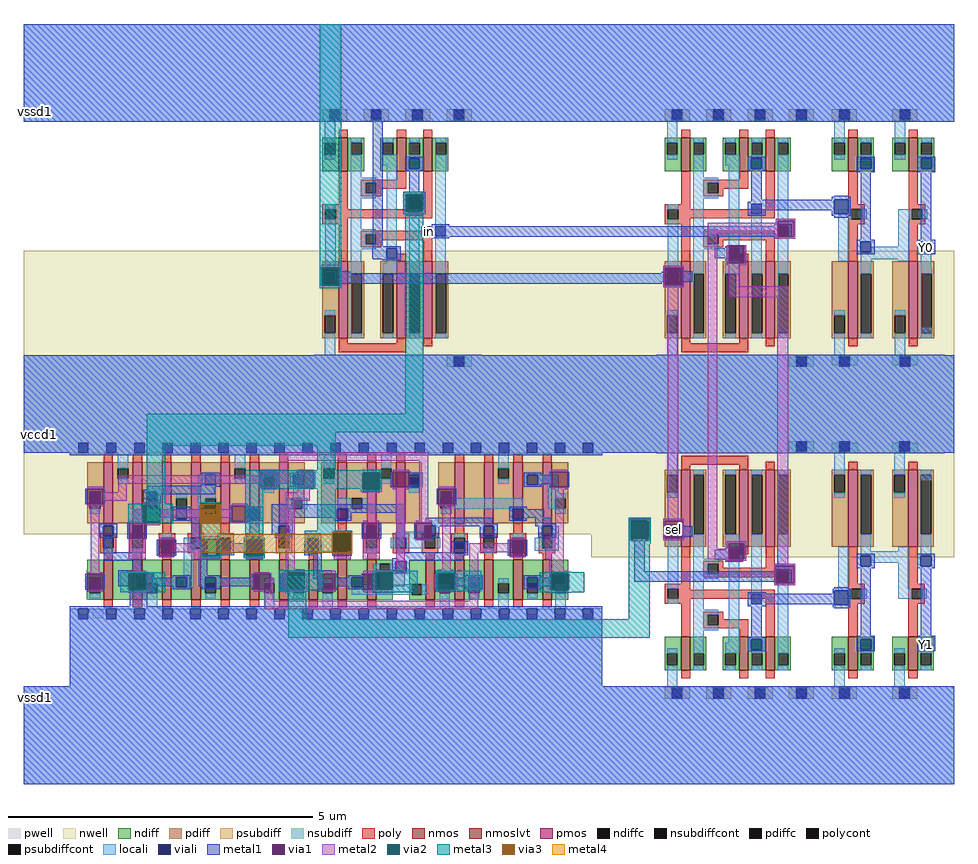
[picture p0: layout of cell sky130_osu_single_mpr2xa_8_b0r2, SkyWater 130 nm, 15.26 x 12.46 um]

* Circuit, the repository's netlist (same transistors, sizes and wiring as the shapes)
* NGSPICE file created from sky130_osu_single_mpr2xa_8_b0r2.ext - technology: sky130A

.subckt scs130hd_mpr2xa_8 VPB VNB R0 R1 R2 R3 B1 B0 A0 vgnd vpwr A1
X0 R0 a_56_48# vpwr VPB sky130_fd_pr__pfet_01v8 ad=0.27 pd=2.54 as=0.165 ps=1.33 w=1 l=0.15
X1 a_1294_296# a_676_198# R3 VPB sky130_fd_pr__pfet_01v8 ad=0.165 pd=1.33 as=0.27 ps=2.54 w=1 l=0.15
X2 vpwr a_56_48# a_1294_296# VPB sky130_fd_pr__pfet_01v8 ad=0.165 pd=1.33 as=0.165 ps=1.33 w=1 l=0.15
X3 a_1486_296# a_334_296# vpwr VPB sky130_fd_pr__pfet_01v8 ad=0.165 pd=1.33 as=0.165 ps=1.33 w=1 l=0.15
X4 R1 R3 a_1486_296# VPB sky130_fd_pr__pfet_01v8 ad=0.27 pd=2.54 as=0.165 ps=1.33 w=1 l=0.15
X5 R2 a_676_198# vgnd VNB sky130_fd_pr__nfet_01v8 ad=0.10725 pd=0.98 as=0.10725 ps=0.98 w=0.65 l=0.15
X6 vgnd a_56_48# R3 VNB sky130_fd_pr__nfet_01v8 ad=0.10725 pd=0.98 as=0.10725 ps=0.98 w=0.65 l=0.15
X7 vpwr B0 a_56_48# VPB sky130_fd_pr__pfet_01v8 ad=0.165 pd=1.33 as=0.27 ps=2.54 w=1 l=0.15
X8 a_334_296# A1 a_238_296# VPB sky130_fd_pr__pfet_01v8 ad=0.165 pd=1.33 as=0.165 ps=1.33 w=1 l=0.15
X9 a_238_296# B0 a_334_296# VPB sky130_fd_pr__pfet_01v8 ad=0.165 pd=1.33 as=0.165 ps=1.33 w=1 l=0.15
X10 a_676_198# B1 a_910_46# VNB sky130_fd_pr__nfet_01v8 ad=0.1755 pd=1.84 as=0.10725 ps=0.98 w=0.65 l=0.15
X11 R3 a_676_198# vgnd VNB sky130_fd_pr__nfet_01v8 ad=0.10725 pd=0.98 as=0.10725 ps=0.98 w=0.65 l=0.15
X12 a_238_296# A0 vpwr VPB sky130_fd_pr__pfet_01v8 ad=0.165 pd=1.33 as=0.165 ps=1.33 w=1 l=0.15
X13 a_142_46# B0 a_56_48# VNB sky130_fd_pr__nfet_01v8 ad=0.10725 pd=0.98 as=0.1802 ps=1.86 w=0.65 l=0.15
X14 vgnd a_56_48# R0 VNB sky130_fd_pr__nfet_01v8 ad=0.10725 pd=0.98 as=0.1755 ps=1.84 w=0.65 l=0.15
X15 vgnd R3 R1 VNB sky130_fd_pr__nfet_01v8 ad=0.1755 pd=1.84 as=0.10725 ps=0.98 w=0.65 l=0.15
X16 a_334_296# B0 a_334_46# VNB sky130_fd_pr__nfet_01v8 ad=0.10725 pd=0.98 as=0.10725 ps=0.98 w=0.65 l=0.15
X17 R1 a_334_296# vgnd VNB sky130_fd_pr__nfet_01v8 ad=0.10725 pd=0.98 as=0.10725 ps=0.98 w=0.65 l=0.15
X18 a_334_46# A1 vgnd VNB sky130_fd_pr__nfet_01v8 ad=0.10725 pd=0.98 as=0.10725 ps=0.98 w=0.65 l=0.15
X19 vgnd A0 a_142_46# VNB sky130_fd_pr__nfet_01v8 ad=0.10725 pd=0.98 as=0.10725 ps=0.98 w=0.65 l=0.15
X20 vgnd A0 a_526_46# VNB sky130_fd_pr__nfet_01v8 ad=0.10725 pd=0.98 as=0.10725 ps=0.98 w=0.65 l=0.15
X21 a_526_46# B1 a_334_296# VNB sky130_fd_pr__nfet_01v8 ad=0.10725 pd=0.98 as=0.10725 ps=0.98 w=0.65 l=0.15
X22 a_910_46# A1 vgnd VNB sky130_fd_pr__nfet_01v8 ad=0.10725 pd=0.98 as=0.10725 ps=0.98 w=0.65 l=0.15
X23 a_56_48# A0 vpwr VPB sky130_fd_pr__pfet_01v8 ad=0.165 pd=1.33 as=0.165 ps=1.33 w=1 l=0.15
X24 a_676_198# A1 vpwr VPB sky130_fd_pr__pfet_01v8 ad=0.165 pd=1.33 as=0.27 ps=2.54 w=1 l=0.15
X25 vgnd R0 R2 VNB sky130_fd_pr__nfet_01v8 ad=0.10725 pd=0.98 as=0.10725 ps=0.98 w=0.65 l=0.15
X26 vpwr B1 a_238_296# VPB sky130_fd_pr__pfet_01v8 ad=0.165 pd=1.33 as=0.165 ps=1.33 w=1 l=0.15
X27 R2 a_676_198# a_56_48# VPB sky130_fd_pr__pfet_01v8 ad=0.27 pd=2.54 as=0.165 ps=1.33 w=1 l=0.15
X28 vpwr B1 a_676_198# VPB sky130_fd_pr__pfet_01v8 ad=0.165 pd=1.33 as=0.165 ps=1.33 w=1 l=0.15
.ends

.subckt sky130_osu_sc_12T_hs__mux2_1 S0 Y A0 A1 vccd1 vssd1 
X0 Y S0 A0 vccd1 sky130_fd_pr__pfet_01v8 ad=0.1764 pd=1.54 as=0.3402 ps=3.06 w=1.26 l=0.15
X1 Y a_110_114# A0 vssd1  sky130_fd_pr__nfet_01v8_lvt ad=0.077 pd=0.83 as=0.1485 ps=1.64 w=0.55 l=0.15
X2 A1 a_110_114# Y vccd1 sky130_fd_pr__pfet_01v8 ad=0.3339 pd=3.05 as=0.1764 ps=1.54 w=1.26 l=0.15
X3 A1 S0 Y vssd1  sky130_fd_pr__nfet_01v8_lvt ad=0.14575 pd=1.63 as=0.077 ps=0.83 w=0.55 l=0.15
X4 a_110_114# S0 vccd1 vccd1 sky130_fd_pr__pfet_01v8 ad=0.3339 pd=3.05 as=0.3402 ps=3.06 w=1.26 l=0.15
X5 a_110_114# S0 vssd1  vssd1  sky130_fd_pr__nfet_01v8_lvt ad=0.14575 pd=1.63 as=0.1485 ps=1.64 w=0.55 l=0.15
.ends

.subckt sky130_osu_sc_12T_hs__inv_1 Y A vccd1 vssd1
X0 Y A vccd1 vccd1 sky130_fd_pr__pfet_01v8 ad=0.3339 pd=3.05 as=0.3402 ps=3.06 w=1.26 l=0.15
X1 Y A vssd1 vssd1 sky130_fd_pr__nfet_01v8_lvt ad=0.14575 pd=1.63 as=0.1485 ps=1.64 w=0.55 l=0.15
.ends

.subckt sky130_osu_single_mpr2xa_8_b0r2 vssd1 vccd1 sel Y0 Y1 in
Xscs130hd_mpr2xa_8_0 vccd1 vssd1 scs130hd_mpr2xa_8_0/R0 scs130hd_mpr2xa_8_0/R1 scs130hd_mpr2xa_8_0/R2
+ scs130hd_mpr2xa_8_0/R3 scs130hd_mpr2xa_8_0/B1 vssd1 scs130hd_mpr2xa_8_0/B1 vssd1
+ vccd1 scs130hd_mpr2xa_8_0/B1 scs130hd_mpr2xa_8
Xsky130_osu_sc_12T_hs__mux2_1_0 sel sky130_osu_sc_12T_hs__inv_1_1/A in scs130hd_mpr2xa_8_0/R2
+ vccd1 vssd1 sky130_osu_sc_12T_hs__mux2_1
Xsky130_osu_sc_12T_hs__mux2_1_1 sel scs130hd_mpr2xa_8_0/B1 vssd1 in vccd1 vssd1 sky130_osu_sc_12T_hs__mux2_1
Xsky130_osu_sc_12T_hs__inv_1_1 sky130_osu_sc_12T_hs__inv_1_2/A sky130_osu_sc_12T_hs__inv_1_1/A
+ vccd1 vssd1 sky130_osu_sc_12T_hs__inv_1
Xsky130_osu_sc_12T_hs__inv_1_2 Y1 sky130_osu_sc_12T_hs__inv_1_2/A vccd1 vssd1 sky130_osu_sc_12T_hs__inv_1
Xsky130_osu_sc_12T_hs__mux2_1_2 sel sky130_osu_sc_12T_hs__inv_1_4/A scs130hd_mpr2xa_8_0/R2
+ in vccd1 vssd1 sky130_osu_sc_12T_hs__mux2_1
Xsky130_osu_sc_12T_hs__inv_1_3 Y0 sky130_osu_sc_12T_hs__inv_1_4/Y vccd1 vssd1 sky130_osu_sc_12T_hs__inv_1
Xsky130_osu_sc_12T_hs__inv_1_4 sky130_osu_sc_12T_hs__inv_1_4/Y sky130_osu_sc_12T_hs__inv_1_4/A
+ vccd1 vssd1 sky130_osu_sc_12T_hs__inv_1
.ends

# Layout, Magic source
magic
tech sky130A
magscale 1 2
<< nwell >>
rect 2938 1749 2981 1750
rect 0 1725 3052 1749
rect 0 1691 2779 1725
rect 2780 1691 3052 1725
rect 0 1087 3052 1691
rect 0 820 109 1087
rect 1860 1086 2086 1087
rect 0 819 106 820
rect 1862 744 2076 1086
rect 2097 800 2165 870
rect 2858 772 2888 807
rect 3007 744 3052 1087
<< ndiff >>
rect 2942 441 2977 475
<< locali >>
rect 0 2173 3052 2493
rect 2778 1722 2877 1762
rect 2779 1691 2780 1722
rect 2944 1462 2978 1496
rect 0 1087 3052 1407
rect 1860 1086 2086 1087
rect 3016 1086 3052 1087
rect 2943 997 2977 1031
rect 2776 725 2884 764
rect 420 559 459 578
rect 787 559 826 572
rect 1155 559 1194 578
rect 1525 559 1565 576
rect 1859 559 1898 576
rect 175 544 1898 559
rect 150 320 1898 544
rect 0 0 3052 320
<< viali >>
rect 2659 1871 2705 1917
rect 2943 1744 2977 1778
rect 2659 588 2705 634
rect 2943 441 2977 475
<< metal1 >>
rect 0 2173 3052 2493
rect 1144 1721 1178 2173
rect 1244 1934 1318 1943
rect 1244 1878 1253 1934
rect 1309 1878 1318 1934
rect 2659 1926 2705 1929
rect 2650 1917 2712 1926
rect 2650 1916 2659 1917
rect 2421 1909 2659 1916
rect 2433 1903 2659 1909
rect 1244 1869 1318 1878
rect 2387 1882 2659 1903
rect 2387 1869 2433 1882
rect 2650 1871 2659 1882
rect 2705 1871 2712 1917
rect 2650 1864 2712 1871
rect 2659 1858 2705 1864
rect 2466 1847 2531 1854
rect 2466 1829 2473 1847
rect 1316 1795 2473 1829
rect 2525 1795 2531 1847
rect 2466 1789 2531 1795
rect 2306 1709 2312 1767
rect 2364 1709 2370 1767
rect 2097 1694 2165 1700
rect 971 1636 977 1694
rect 1035 1676 1041 1694
rect 2097 1681 2103 1694
rect 2093 1676 2103 1681
rect 1035 1647 2103 1676
rect 1035 1641 2093 1647
rect 1035 1636 1041 1641
rect 2097 1636 2103 1647
rect 2161 1636 2165 1694
rect 2097 1630 2165 1636
rect 0 1087 3052 1407
rect 1860 1086 2086 1087
rect 3016 1086 3052 1087
rect 1985 863 2053 869
rect 1985 805 1991 863
rect 2049 805 2053 863
rect 1985 799 2053 805
rect 2097 864 2165 870
rect 2097 806 2103 864
rect 2161 806 2165 864
rect 2097 800 2165 806
rect 2003 698 2037 799
rect 2306 790 2370 796
rect 2306 772 2312 790
rect 2299 738 2312 772
rect 2364 738 2370 790
rect 2306 732 2370 738
rect 2461 716 2531 722
rect 2461 698 2467 716
rect 347 582 405 670
rect 2003 664 2467 698
rect 2461 658 2467 664
rect 2525 658 2531 716
rect 2461 652 2531 658
rect 2659 641 2705 646
rect 2653 634 2711 641
rect 2653 624 2659 634
rect 2387 623 2421 624
rect 2433 623 2659 624
rect 2387 590 2659 623
rect 2653 588 2659 590
rect 2705 588 2711 634
rect 420 559 459 578
rect 787 559 826 572
rect 1155 559 1194 578
rect 1859 576 1884 583
rect 2653 580 2711 588
rect 2659 576 2705 580
rect 1525 568 1565 576
rect 1859 559 1898 576
rect 175 544 1898 559
rect 150 320 1898 544
rect 0 0 3052 320
<< via1 >>
rect 1253 1878 1309 1934
rect 2473 1795 2525 1847
rect 2312 1709 2364 1767
rect 977 1636 1035 1694
rect 2103 1636 2161 1694
rect 1991 805 2049 863
rect 2103 806 2161 864
rect 2312 738 2364 790
rect 2467 658 2525 716
<< metal2 >>
rect 1244 1934 1318 1943
rect 1244 1878 1253 1934
rect 1309 1878 1318 1934
rect 1244 1869 1318 1878
rect 2466 1847 2531 1854
rect 2466 1841 2473 1847
rect 2243 1807 2473 1841
rect 977 1694 1035 1703
rect 977 1627 1035 1636
rect 2097 1694 2165 1700
rect 2097 1636 2103 1694
rect 2161 1636 2165 1694
rect 2097 1630 2165 1636
rect 1991 869 2049 872
rect 2113 870 2147 1630
rect 1985 863 2053 869
rect 1985 805 1991 863
rect 2049 805 2053 863
rect 1985 799 2053 805
rect 2097 864 2165 870
rect 2097 806 2103 864
rect 2161 806 2165 864
rect 2097 800 2165 806
rect 1991 796 2049 799
rect 2243 772 2275 1807
rect 2466 1795 2473 1807
rect 2525 1795 2531 1847
rect 2466 1789 2531 1795
rect 2306 1709 2312 1767
rect 2364 1709 2370 1767
rect 2306 1702 2370 1709
rect 2312 1667 2346 1702
rect 2312 1632 2347 1667
rect 2312 1597 2507 1632
rect 2306 790 2370 796
rect 2306 772 2312 790
rect 2243 738 2312 772
rect 2364 738 2370 790
rect 2306 732 2370 738
rect 2472 722 2507 1597
rect 2461 716 2531 722
rect 1776 647 1787 687
rect 2461 658 2467 716
rect 2525 658 2531 716
rect 2461 652 2531 658
<< via2 >>
rect 1253 1878 1309 1934
rect 977 1636 1035 1694
rect 1991 805 2049 863
<< metal3 >>
rect 971 1694 1041 2493
rect 1244 1934 1318 1943
rect 1244 1878 1253 1934
rect 1309 1878 1318 1934
rect 1244 1869 1318 1878
rect 971 1636 977 1694
rect 1035 1636 1041 1694
rect 971 1627 1041 1636
rect 1251 1214 1311 1869
rect 404 1154 1311 1214
rect 404 1110 1023 1154
rect 404 862 464 1110
rect 963 762 1023 1110
rect 1985 863 2057 873
rect 1985 805 1991 863
rect 2049 805 2057 863
rect 1985 788 2057 805
rect 867 664 923 683
rect 867 540 927 664
rect 1985 540 2053 788
rect 867 480 2053 540
use scs130hd_mpr2xa_8  scs130hd_mpr2xa_8_0
transform 1 0 150 0 1 559
box -48 -48 1796 592
use sky130_osu_sc_12T_hs__fill_8  sky130_osu_sc_12T_hs__fill_8_0
transform 1 0 1684 0 -1 2234
box -9 0 179 897
use sky130_osu_sc_12T_hs__inv_1  sky130_osu_sc_12T_hs__inv_1_1
transform 1 0 2625 0 1 259
box -10 0 199 902
use sky130_osu_sc_12T_hs__inv_1  sky130_osu_sc_12T_hs__inv_1_2
transform 1 0 2822 0 1 259
box -10 0 199 902
use sky130_osu_sc_12T_hs__inv_1  sky130_osu_sc_12T_hs__inv_1_3
transform 1 0 2823 0 -1 2234
box -10 0 199 902
use sky130_osu_sc_12T_hs__inv_1  sky130_osu_sc_12T_hs__inv_1_4
transform 1 0 2625 0 -1 2234
box -10 0 199 902
use sky130_osu_sc_12T_hs__mux2_1  sky130_osu_sc_12T_hs__mux2_1_0
transform 1 0 2076 0 1 259
box -10 0 552 902
use sky130_osu_sc_12T_hs__mux2_1  sky130_osu_sc_12T_hs__mux2_1_1
transform 1 0 953 0 -1 2234
box -10 0 552 902
use sky130_osu_sc_12T_hs__mux2_1  sky130_osu_sc_12T_hs__mux2_1_2
transform 1 0 2076 0 -1 2234
box -10 0 552 902
<< labels >>
rlabel metal1 50 1145 50 1145 1 vccd1
port 6 n
rlabel metal1 40 284 40 284 1 vssd1
port 5 n
rlabel metal2 2130 835 2130 835 1 sel
port 7 n
rlabel metal1 40 2206 40 2206 1 vssd1
port 5 n
rlabel metal1 1316 1795 1344 1829 1 in
port 11 n
rlabel viali 2943 441 2977 475 1 Y1
port 10 n
rlabel viali 2943 1744 2977 1778 1 Y0
port 9 n
<< end >>

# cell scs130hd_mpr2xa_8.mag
magic
tech sky130A
magscale 1 2
<< nwell >>
rect -48 260 1796 582
<< pwell >>
rect 76 -16 110 16
<< nmos >>
rect 112 46 142 176
rect 208 46 238 176
rect 304 46 334 176
rect 400 46 430 176
rect 496 46 526 176
rect 592 46 622 176
rect 688 46 718 176
rect 784 46 814 176
rect 880 46 910 176
rect 976 46 1006 176
rect 1168 46 1198 176
rect 1264 46 1294 176
rect 1360 46 1390 176
rect 1456 46 1486 176
rect 1552 46 1582 176
<< pmos >>
rect 112 296 142 496
rect 208 296 238 496
rect 304 296 334 496
rect 400 296 430 496
rect 496 296 526 496
rect 592 296 622 496
rect 688 296 718 496
rect 880 296 910 496
rect 976 296 1006 496
rect 1072 296 1102 496
rect 1264 296 1294 496
rect 1360 296 1390 496
rect 1456 296 1486 496
rect 1552 296 1582 496
<< ndiff >>
rect 58 142 112 176
rect 56 100 112 142
rect 56 66 66 100
rect 100 66 112 100
rect 56 48 112 66
rect 58 46 112 48
rect 142 46 208 176
rect 238 100 304 176
rect 238 66 254 100
rect 288 66 304 100
rect 238 46 304 66
rect 334 46 400 176
rect 430 100 496 176
rect 430 66 446 100
rect 480 66 496 100
rect 430 46 496 66
rect 526 46 592 176
rect 622 100 688 176
rect 622 66 638 100
rect 672 66 688 100
rect 622 46 688 66
rect 718 100 784 176
rect 718 66 734 100
rect 768 66 784 100
rect 718 46 784 66
rect 814 100 880 176
rect 814 66 830 100
rect 864 66 880 100
rect 814 46 880 66
rect 910 46 976 176
rect 1006 164 1060 176
rect 1006 130 1017 164
rect 1051 130 1060 164
rect 1006 46 1060 130
rect 1114 96 1168 176
rect 1114 62 1122 96
rect 1156 62 1168 96
rect 1114 46 1168 62
rect 1198 100 1264 176
rect 1198 66 1214 100
rect 1248 66 1264 100
rect 1198 46 1264 66
rect 1294 100 1360 176
rect 1294 66 1310 100
rect 1344 66 1360 100
rect 1294 46 1360 66
rect 1390 100 1456 176
rect 1390 66 1406 100
rect 1440 66 1456 100
rect 1390 46 1456 66
rect 1486 100 1552 176
rect 1486 66 1502 100
rect 1536 66 1552 100
rect 1486 46 1552 66
rect 1582 100 1636 176
rect 1582 66 1594 100
rect 1628 66 1636 100
rect 1582 46 1636 66
<< pdiff >>
rect 58 378 112 496
rect 58 344 66 378
rect 100 344 112 378
rect 58 296 112 344
rect 142 476 208 496
rect 142 442 158 476
rect 192 442 208 476
rect 142 296 208 442
rect 238 378 304 496
rect 238 344 254 378
rect 288 344 304 378
rect 238 296 304 344
rect 334 378 400 496
rect 334 344 350 378
rect 384 344 400 378
rect 334 296 400 344
rect 430 378 496 496
rect 430 344 446 378
rect 480 344 496 378
rect 430 296 496 344
rect 526 476 592 496
rect 526 442 542 476
rect 576 442 592 476
rect 526 296 592 442
rect 622 446 688 496
rect 622 412 638 446
rect 672 412 688 446
rect 622 296 688 412
rect 718 378 772 496
rect 718 344 729 378
rect 763 344 772 378
rect 718 296 772 344
rect 826 476 880 496
rect 826 442 834 476
rect 868 442 880 476
rect 826 296 880 442
rect 910 378 976 496
rect 910 344 926 378
rect 960 344 976 378
rect 910 296 976 344
rect 1006 476 1072 496
rect 1006 442 1022 476
rect 1056 442 1072 476
rect 1006 296 1072 442
rect 1102 446 1156 496
rect 1102 412 1113 446
rect 1147 412 1156 446
rect 1102 296 1156 412
rect 1210 378 1264 496
rect 1210 344 1218 378
rect 1252 344 1264 378
rect 1210 296 1264 344
rect 1294 296 1360 496
rect 1390 476 1456 496
rect 1390 442 1406 476
rect 1440 442 1456 476
rect 1390 296 1456 442
rect 1486 296 1552 496
rect 1582 378 1636 496
rect 1582 344 1593 378
rect 1627 344 1636 378
rect 1582 296 1636 344
<< ndiffc >>
rect 66 66 100 100
rect 254 66 288 100
rect 446 66 480 100
rect 638 66 672 100
rect 734 66 768 100
rect 830 66 864 100
rect 1017 130 1051 164
rect 1122 62 1156 96
rect 1214 66 1248 100
rect 1310 66 1344 100
rect 1406 66 1440 100
rect 1502 66 1536 100
rect 1594 66 1628 100
<< pdiffc >>
rect 66 344 100 378
rect 158 442 192 476
rect 254 344 288 378
rect 350 344 384 378
rect 446 344 480 378
rect 542 442 576 476
rect 638 412 672 446
rect 729 344 763 378
rect 834 442 868 476
rect 926 344 960 378
rect 1022 442 1056 476
rect 1113 412 1147 446
rect 1218 344 1252 378
rect 1406 442 1440 476
rect 1593 344 1627 378
<< poly >>
rect 112 496 142 522
rect 208 496 238 522
rect 304 496 334 522
rect 400 496 430 522
rect 496 496 526 522
rect 592 496 622 522
rect 688 496 718 522
rect 880 496 910 522
rect 976 496 1006 522
rect 1072 496 1102 522
rect 1264 496 1294 522
rect 1360 496 1390 522
rect 1456 496 1486 522
rect 1552 496 1582 522
rect 112 264 142 296
rect 208 264 238 296
rect 304 264 334 296
rect 400 264 430 296
rect 496 264 526 296
rect 592 264 622 296
rect 688 264 718 296
rect 880 264 910 296
rect 976 264 1006 296
rect 1072 264 1102 296
rect 1264 264 1294 296
rect 1360 264 1390 296
rect 1456 264 1486 296
rect 1552 264 1582 296
rect 100 248 154 264
rect 100 214 110 248
rect 144 214 154 248
rect 100 198 154 214
rect 196 248 250 264
rect 196 214 206 248
rect 240 214 250 248
rect 196 198 250 214
rect 292 248 346 264
rect 292 214 302 248
rect 336 214 346 248
rect 292 198 346 214
rect 388 248 442 264
rect 388 214 398 248
rect 432 214 442 248
rect 388 198 442 214
rect 484 248 538 264
rect 484 214 494 248
rect 528 214 538 248
rect 484 198 538 214
rect 580 248 634 264
rect 580 214 590 248
rect 624 214 634 248
rect 580 198 634 214
rect 676 248 730 264
rect 676 214 686 248
rect 720 214 730 248
rect 676 198 730 214
rect 772 248 826 264
rect 772 214 782 248
rect 816 214 826 248
rect 772 198 826 214
rect 868 248 922 264
rect 868 214 878 248
rect 912 214 922 248
rect 868 198 922 214
rect 964 248 1018 264
rect 964 214 974 248
rect 1008 214 1018 248
rect 964 198 1018 214
rect 1060 248 1114 264
rect 1060 214 1070 248
rect 1104 214 1114 248
rect 1060 198 1114 214
rect 1156 248 1210 264
rect 1156 214 1166 248
rect 1200 214 1210 248
rect 1156 198 1210 214
rect 1252 248 1306 264
rect 1252 214 1262 248
rect 1296 214 1306 248
rect 1252 198 1306 214
rect 1348 248 1402 264
rect 1348 214 1358 248
rect 1392 214 1402 248
rect 1348 198 1402 214
rect 1444 248 1498 264
rect 1444 214 1454 248
rect 1488 214 1498 248
rect 1444 198 1498 214
rect 1540 248 1594 264
rect 1540 214 1550 248
rect 1584 214 1594 248
rect 1540 198 1594 214
rect 112 176 142 198
rect 208 176 238 198
rect 304 176 334 198
rect 400 176 430 198
rect 496 176 526 198
rect 592 176 622 198
rect 688 176 718 198
rect 784 176 814 198
rect 880 176 910 198
rect 976 176 1006 198
rect 1168 176 1198 198
rect 1264 176 1294 198
rect 1360 176 1390 198
rect 1456 176 1486 198
rect 1552 176 1582 198
rect 112 20 142 46
rect 208 20 238 46
rect 304 20 334 46
rect 400 20 430 46
rect 496 20 526 46
rect 592 20 622 46
rect 688 20 718 46
rect 784 20 814 46
rect 880 20 910 46
rect 976 20 1006 46
rect 1168 20 1198 46
rect 1264 20 1294 46
rect 1360 20 1390 46
rect 1456 20 1486 46
rect 1552 20 1582 46
<< polycont >>
rect 110 214 144 248
rect 206 214 240 248
rect 302 214 336 248
rect 398 214 432 248
rect 494 214 528 248
rect 590 214 624 248
rect 686 214 720 248
rect 782 214 816 248
rect 878 214 912 248
rect 974 214 1008 248
rect 1070 214 1104 248
rect 1166 214 1200 248
rect 1262 214 1296 248
rect 1358 214 1392 248
rect 1454 214 1488 248
rect 1550 214 1584 248
<< locali >>
rect 0 526 28 560
rect 62 526 120 560
rect 154 526 212 560
rect 246 526 304 560
rect 338 526 396 560
rect 430 526 488 560
rect 522 526 580 560
rect 614 526 672 560
rect 706 526 764 560
rect 798 526 856 560
rect 890 526 948 560
rect 982 526 1040 560
rect 1074 526 1132 560
rect 1166 526 1224 560
rect 1258 526 1316 560
rect 1350 526 1408 560
rect 1442 526 1500 560
rect 1534 526 1592 560
rect 1626 526 1684 560
rect 1718 526 1748 560
rect 158 476 192 526
rect 542 476 576 526
rect 158 426 192 442
rect 422 422 446 456
rect 834 476 868 526
rect 542 426 576 442
rect 638 456 672 462
rect 66 328 100 344
rect 254 328 288 344
rect 350 378 384 394
rect 422 378 480 422
rect 638 396 672 412
rect 834 426 868 442
rect 1022 476 1056 526
rect 1406 476 1440 526
rect 1022 426 1056 442
rect 1113 456 1148 462
rect 734 378 768 422
rect 1147 412 1148 456
rect 1406 426 1440 442
rect 1536 422 1604 456
rect 1113 396 1148 412
rect 1218 378 1220 400
rect 1570 394 1604 422
rect 1570 378 1627 394
rect 422 344 446 378
rect 712 344 729 378
rect 763 344 779 378
rect 878 344 926 378
rect 960 344 976 378
rect 1254 366 1488 378
rect 1252 344 1488 366
rect 1570 344 1593 378
rect 446 328 480 344
rect 1218 328 1254 344
rect 1592 328 1627 344
rect 110 248 144 254
rect 110 198 144 214
rect 206 248 240 254
rect 206 198 240 214
rect 302 248 336 264
rect 494 248 528 264
rect 374 214 398 248
rect 432 214 448 248
rect 374 120 408 214
rect 590 248 624 310
rect 590 198 624 214
rect 686 248 720 254
rect 686 198 720 214
rect 782 248 816 264
rect 878 248 912 264
rect 974 248 1008 254
rect 1070 254 1166 268
rect 1070 248 1200 254
rect 1262 248 1296 264
rect 1054 214 1070 248
rect 1104 214 1166 248
rect 1200 214 1216 248
rect 974 198 1008 214
rect 1358 248 1392 254
rect 1358 198 1392 214
rect 1454 248 1488 264
rect 1584 254 1604 288
rect 1550 248 1604 254
rect 1526 214 1550 248
rect 1584 214 1604 248
rect 1526 206 1604 214
rect 998 130 1017 164
rect 1051 138 1070 164
rect 1051 130 1104 138
rect 66 50 100 66
rect 254 100 288 116
rect 384 86 408 120
rect 254 16 288 66
rect 446 50 480 66
rect 638 100 672 116
rect 706 86 726 110
rect 760 100 768 116
rect 706 66 734 86
rect 638 16 672 66
rect 734 50 768 66
rect 830 100 864 116
rect 830 16 864 66
rect 1214 100 1248 116
rect 960 86 1122 96
rect 926 62 1122 86
rect 1156 62 1174 96
rect 1214 16 1248 66
rect 1310 50 1344 66
rect 1406 100 1440 116
rect 1406 16 1440 66
rect 1502 50 1536 66
rect 1594 100 1628 116
rect 1594 16 1628 66
rect 0 -18 28 16
rect 62 -18 120 16
rect 154 -18 212 16
rect 246 -18 304 16
rect 338 -18 396 16
rect 430 -18 488 16
rect 522 -18 580 16
rect 614 -18 672 16
rect 706 -18 764 16
rect 798 -18 856 16
rect 890 -18 948 16
rect 982 -18 1040 16
rect 1074 -18 1132 16
rect 1166 -18 1224 16
rect 1258 -18 1316 16
rect 1350 -18 1408 16
rect 1442 -18 1500 16
rect 1534 -18 1592 16
rect 1626 -18 1684 16
rect 1718 -18 1748 16
<< viali >>
rect 28 526 62 560
rect 120 526 154 560
rect 212 526 246 560
rect 304 526 338 560
rect 396 526 430 560
rect 488 526 522 560
rect 580 526 614 560
rect 672 526 706 560
rect 764 526 798 560
rect 856 526 890 560
rect 948 526 982 560
rect 1040 526 1074 560
rect 1132 526 1166 560
rect 1224 526 1258 560
rect 1316 526 1350 560
rect 1408 526 1442 560
rect 1500 526 1534 560
rect 1592 526 1626 560
rect 1684 526 1718 560
rect 446 422 480 456
rect 638 446 672 456
rect 66 378 100 400
rect 66 366 100 378
rect 254 378 288 400
rect 254 366 288 378
rect 638 422 672 446
rect 734 422 768 456
rect 1113 446 1147 456
rect 1113 422 1147 446
rect 1502 422 1536 456
rect 1220 378 1254 400
rect 1220 366 1252 378
rect 1252 366 1254 378
rect 350 310 384 344
rect 590 310 624 344
rect 878 310 912 344
rect 1454 310 1488 344
rect 110 254 144 288
rect 206 254 240 288
rect 302 214 336 232
rect 302 198 336 214
rect 494 214 528 232
rect 494 198 528 214
rect 686 254 720 288
rect 782 214 816 232
rect 782 198 816 214
rect 878 214 912 232
rect 878 198 912 214
rect 974 254 1008 288
rect 1166 254 1200 288
rect 1262 214 1296 232
rect 1262 198 1296 214
rect 1358 254 1392 288
rect 1550 254 1584 288
rect 1454 214 1488 232
rect 1454 198 1488 214
rect 1070 138 1104 172
rect 66 100 100 120
rect 66 86 100 100
rect 350 86 384 120
rect 446 100 480 120
rect 446 86 480 100
rect 726 100 760 120
rect 726 86 734 100
rect 734 86 760 100
rect 926 86 960 120
rect 1310 100 1344 120
rect 1310 86 1344 100
rect 1502 100 1536 120
rect 1502 86 1536 100
rect 28 -18 62 16
rect 120 -18 154 16
rect 212 -18 246 16
rect 304 -18 338 16
rect 396 -18 430 16
rect 488 -18 522 16
rect 580 -18 614 16
rect 672 -18 706 16
rect 764 -18 798 16
rect 856 -18 890 16
rect 948 -18 982 16
rect 1040 -18 1074 16
rect 1132 -18 1166 16
rect 1224 -18 1258 16
rect 1316 -18 1350 16
rect 1408 -18 1442 16
rect 1500 -18 1534 16
rect 1592 -18 1626 16
rect 1684 -18 1718 16
<< metal1 >>
rect 0 560 1748 592
rect 0 526 28 560
rect 62 526 120 560
rect 154 526 212 560
rect 246 526 304 560
rect 338 526 396 560
rect 430 526 488 560
rect 522 526 580 560
rect 614 526 672 560
rect 706 526 764 560
rect 798 526 856 560
rect 890 526 948 560
rect 982 526 1040 560
rect 1074 526 1132 560
rect 1166 526 1224 560
rect 1258 526 1316 560
rect 1350 526 1408 560
rect 1442 526 1500 560
rect 1534 526 1592 560
rect 1626 526 1684 560
rect 1718 526 1748 560
rect 0 520 1748 526
rect 434 456 492 462
rect 434 422 446 456
rect 480 422 492 456
rect 434 420 492 422
rect 256 416 492 420
rect 52 358 58 410
rect 110 358 116 410
rect 256 406 476 416
rect 622 414 628 466
rect 680 414 686 466
rect 742 462 748 466
rect 722 456 748 462
rect 722 422 734 456
rect 722 416 748 422
rect 742 414 748 416
rect 800 414 806 466
rect 1054 414 1060 466
rect 1115 462 1121 466
rect 1115 456 1159 462
rect 1147 422 1159 456
rect 1115 416 1159 422
rect 1490 456 1548 462
rect 1490 422 1502 456
rect 1536 454 1548 456
rect 1576 454 1582 466
rect 1536 426 1582 454
rect 1536 422 1548 426
rect 1490 416 1548 422
rect 1115 414 1121 416
rect 1576 414 1582 426
rect 1634 414 1640 466
rect 242 400 476 406
rect 242 366 254 400
rect 288 392 476 400
rect 288 366 300 392
rect 242 360 300 366
rect 728 358 762 378
rect 1204 358 1210 410
rect 1262 358 1268 410
rect 338 344 396 350
rect 338 310 350 344
rect 384 342 396 344
rect 384 310 428 342
rect 338 304 428 310
rect 98 288 156 294
rect 98 254 110 288
rect 144 254 156 288
rect 98 248 156 254
rect 112 202 140 248
rect 190 246 196 298
rect 248 246 254 298
rect 112 174 236 202
rect 286 190 292 242
rect 344 190 350 242
rect 400 238 428 304
rect 526 302 532 354
rect 584 350 590 354
rect 584 344 636 350
rect 584 310 590 344
rect 624 310 636 344
rect 584 304 636 310
rect 664 344 1100 358
rect 664 314 878 344
rect 584 302 590 304
rect 664 288 732 314
rect 866 310 878 314
rect 912 330 1100 344
rect 912 310 924 330
rect 866 304 924 310
rect 664 258 686 288
rect 674 254 686 258
rect 720 254 732 288
rect 674 248 732 254
rect 958 246 964 298
rect 1016 246 1022 298
rect 400 210 452 238
rect 208 142 236 174
rect 160 130 236 142
rect 52 78 58 130
rect 110 78 116 130
rect 160 90 220 130
rect 214 78 220 90
rect 272 118 278 130
rect 424 126 452 210
rect 482 232 540 238
rect 482 198 494 232
rect 528 230 540 232
rect 574 230 580 242
rect 528 202 580 230
rect 528 198 540 202
rect 482 192 540 198
rect 574 190 580 202
rect 632 190 638 242
rect 770 232 828 238
rect 770 198 782 232
rect 816 198 828 232
rect 770 192 828 198
rect 800 142 828 192
rect 862 190 868 242
rect 920 190 926 242
rect 1072 202 1100 330
rect 1442 344 1500 350
rect 1168 298 1388 314
rect 1442 310 1454 344
rect 1488 342 1500 344
rect 1488 314 1556 342
rect 1488 310 1500 314
rect 1442 304 1500 310
rect 1130 246 1136 298
rect 1188 294 1388 298
rect 1528 294 1580 314
rect 1188 288 1404 294
rect 1200 286 1358 288
rect 1200 254 1212 286
rect 1188 248 1212 254
rect 1346 254 1358 286
rect 1392 254 1404 288
rect 1528 288 1596 294
rect 1528 286 1550 288
rect 1346 248 1404 254
rect 1538 254 1550 286
rect 1584 254 1596 288
rect 1538 248 1596 254
rect 1188 246 1194 248
rect 1250 232 1308 238
rect 1250 202 1262 232
rect 1072 198 1262 202
rect 1296 198 1308 232
rect 1072 192 1308 198
rect 1072 182 1292 192
rect 1438 190 1444 242
rect 1496 190 1502 242
rect 1058 174 1292 182
rect 1058 172 1116 174
rect 800 130 860 142
rect 1058 138 1070 172
rect 1104 138 1116 172
rect 1058 132 1116 138
rect 338 120 396 126
rect 338 118 350 120
rect 272 90 350 118
rect 272 78 278 90
rect 338 86 350 90
rect 384 86 396 120
rect 424 120 492 126
rect 424 90 446 120
rect 338 80 396 86
rect 434 86 446 90
rect 480 118 492 120
rect 598 118 604 130
rect 480 90 604 118
rect 480 86 492 90
rect 434 80 492 86
rect 598 78 604 90
rect 656 78 662 130
rect 692 78 698 130
rect 750 120 772 130
rect 760 86 772 120
rect 800 114 820 130
rect 750 78 772 86
rect 814 78 820 114
rect 872 118 878 130
rect 958 126 964 130
rect 914 120 964 126
rect 914 118 926 120
rect 872 90 926 118
rect 872 78 878 90
rect 914 86 926 90
rect 960 86 964 120
rect 914 80 964 86
rect 958 78 964 80
rect 1016 78 1022 130
rect 1204 78 1210 130
rect 1262 118 1268 130
rect 1298 120 1356 126
rect 1298 118 1310 120
rect 1262 90 1310 118
rect 1262 78 1268 90
rect 1298 86 1310 90
rect 1344 86 1356 120
rect 1298 80 1356 86
rect 1490 120 1548 126
rect 1490 86 1502 120
rect 1536 118 1548 120
rect 1576 118 1582 130
rect 1536 90 1582 118
rect 1536 86 1548 90
rect 1490 80 1548 86
rect 1576 78 1582 90
rect 1634 78 1640 130
rect 0 16 1748 24
rect 0 -18 28 16
rect 62 -18 120 16
rect 154 -18 212 16
rect 246 -18 304 16
rect 338 -18 396 16
rect 430 -18 488 16
rect 522 -18 580 16
rect 614 -18 672 16
rect 706 -18 764 16
rect 798 -18 856 16
rect 890 -18 948 16
rect 982 -18 1040 16
rect 1074 -18 1132 16
rect 1166 -18 1224 16
rect 1258 -18 1316 16
rect 1350 -18 1408 16
rect 1442 -18 1500 16
rect 1534 -18 1592 16
rect 1626 -18 1684 16
rect 1718 -18 1748 16
rect 0 -48 1748 -18
<< via1 >>
rect 58 400 110 410
rect 58 366 66 400
rect 66 366 100 400
rect 100 366 110 400
rect 58 358 110 366
rect 628 456 680 466
rect 628 422 638 456
rect 638 422 672 456
rect 672 422 680 456
rect 628 414 680 422
rect 748 456 800 466
rect 748 422 768 456
rect 768 422 800 456
rect 748 414 800 422
rect 1060 456 1115 466
rect 1060 422 1113 456
rect 1113 422 1115 456
rect 1060 414 1115 422
rect 1582 414 1634 466
rect 1210 400 1262 410
rect 1210 366 1220 400
rect 1220 366 1254 400
rect 1254 366 1262 400
rect 1210 358 1262 366
rect 196 288 248 298
rect 196 254 206 288
rect 206 254 240 288
rect 240 254 248 288
rect 196 246 248 254
rect 292 232 344 242
rect 292 198 302 232
rect 302 198 336 232
rect 336 198 344 232
rect 292 190 344 198
rect 532 302 584 354
rect 964 288 1016 298
rect 964 254 974 288
rect 974 254 1008 288
rect 1008 254 1016 288
rect 964 246 1016 254
rect 58 120 110 130
rect 58 86 66 120
rect 66 86 100 120
rect 100 86 110 120
rect 58 78 110 86
rect 220 78 272 130
rect 580 190 632 242
rect 868 232 920 242
rect 868 198 878 232
rect 878 198 912 232
rect 912 198 920 232
rect 868 190 920 198
rect 1136 288 1188 298
rect 1136 254 1166 288
rect 1166 254 1188 288
rect 1136 246 1188 254
rect 1444 232 1496 242
rect 1444 198 1454 232
rect 1454 198 1488 232
rect 1488 198 1496 232
rect 1444 190 1496 198
rect 604 78 656 130
rect 698 120 750 130
rect 698 86 726 120
rect 726 86 750 120
rect 698 78 750 86
rect 820 78 872 130
rect 964 78 1016 130
rect 1210 78 1262 130
rect 1582 78 1634 130
<< metal2 >>
rect 688 502 1176 530
rect 688 472 716 502
rect 628 466 716 472
rect 160 426 628 454
rect 58 410 110 416
rect 160 398 188 426
rect 680 426 716 466
rect 748 466 800 472
rect 628 408 680 414
rect 748 408 800 414
rect 962 462 1018 472
rect 748 398 788 408
rect 110 370 188 398
rect 710 370 788 398
rect 1060 466 1115 472
rect 1060 408 1115 414
rect 962 396 1018 406
rect 58 352 110 358
rect 242 356 298 365
rect 70 136 98 352
rect 208 304 242 342
rect 196 300 242 304
rect 532 354 584 360
rect 298 314 532 342
rect 196 298 298 300
rect 194 246 196 252
rect 248 290 298 298
rect 532 296 584 302
rect 431 252 492 253
rect 248 246 250 252
rect 194 178 250 246
rect 292 242 344 248
rect 410 244 492 252
rect 410 230 436 244
rect 344 202 436 230
rect 292 184 344 190
rect 410 188 436 202
rect 410 178 492 188
rect 578 244 634 253
rect 578 178 634 188
rect 710 146 738 370
rect 976 304 1004 396
rect 964 298 1016 304
rect 866 262 922 272
rect 866 190 868 206
rect 920 190 922 206
rect 866 178 922 190
rect 962 246 964 252
rect 1016 246 1018 252
rect 962 178 1018 246
rect 194 136 250 141
rect 710 136 772 146
rect 1072 144 1100 408
rect 1148 304 1176 502
rect 1582 466 1634 472
rect 1210 410 1262 416
rect 1582 408 1634 414
rect 1210 352 1262 358
rect 1136 298 1188 304
rect 1136 240 1188 246
rect 1222 144 1250 352
rect 1594 252 1622 408
rect 1444 242 1496 248
rect 1312 202 1444 230
rect 1004 140 1100 144
rect 58 130 110 136
rect 58 72 110 78
rect 194 132 272 136
rect 250 130 272 132
rect 250 76 272 78
rect 194 72 272 76
rect 604 130 656 136
rect 698 130 716 136
rect 818 130 874 140
rect 656 78 668 118
rect 604 72 668 78
rect 194 66 250 72
rect 640 42 668 72
rect 772 80 780 130
rect 750 78 780 80
rect 698 71 780 78
rect 818 78 820 130
rect 872 78 874 130
rect 818 72 874 78
rect 964 136 1100 140
rect 964 130 1004 136
rect 1060 90 1100 136
rect 1208 134 1264 144
rect 1016 78 1060 80
rect 1198 78 1208 130
rect 1264 78 1273 130
rect 964 70 1060 78
rect 1208 70 1264 78
rect 1312 42 1340 202
rect 1444 184 1496 190
rect 1560 178 1622 252
rect 1574 141 1622 178
rect 1574 132 1636 141
rect 1574 90 1580 132
rect 1580 66 1636 76
rect 640 14 1340 42
<< via2 >>
rect 962 406 1018 462
rect 242 300 298 356
rect 436 188 492 244
rect 578 242 634 244
rect 578 190 580 242
rect 580 190 632 242
rect 632 190 634 242
rect 578 188 634 190
rect 866 242 922 262
rect 866 206 868 242
rect 868 206 920 242
rect 920 206 922 242
rect 194 130 250 132
rect 194 78 220 130
rect 220 78 250 130
rect 194 76 250 78
rect 716 130 772 136
rect 716 80 750 130
rect 750 80 772 130
rect 1004 130 1060 136
rect 1004 80 1016 130
rect 1016 80 1060 130
rect 1208 130 1264 134
rect 1208 78 1210 130
rect 1210 78 1262 130
rect 1262 78 1264 130
rect 1580 130 1636 132
rect 1580 78 1582 130
rect 1582 78 1634 130
rect 1634 78 1636 130
rect 1580 76 1636 78
<< metal3 >>
rect 958 470 1024 472
rect 576 462 1024 470
rect 576 410 962 462
rect 238 360 301 361
rect 430 360 494 366
rect 192 356 338 360
rect 192 300 242 356
rect 298 300 338 356
rect 192 294 338 300
rect 430 290 494 296
rect 430 252 496 290
rect 576 252 636 410
rect 956 406 962 410
rect 1018 406 1024 462
rect 956 400 1024 406
rect 430 244 497 252
rect 430 188 436 244
rect 492 188 497 244
rect 430 182 497 188
rect 572 249 636 252
rect 772 266 928 272
rect 572 244 640 249
rect 572 188 578 244
rect 634 188 640 244
rect 772 204 862 266
rect 860 202 862 204
rect 926 202 928 266
rect 862 196 928 202
rect 572 182 640 188
rect 186 136 257 137
rect 686 136 832 142
rect 166 132 312 136
rect 166 76 194 132
rect 250 76 312 132
rect 166 70 312 76
rect 686 80 716 136
rect 772 80 832 136
rect 686 76 832 80
rect 995 140 1065 141
rect 995 136 1142 140
rect 995 80 1004 136
rect 1060 80 1142 136
rect 686 74 782 76
rect 995 70 1142 80
rect 1202 134 1350 140
rect 1574 136 1646 137
rect 1202 78 1208 134
rect 1264 78 1350 134
rect 1202 74 1350 78
rect 1542 132 1688 136
rect 1542 76 1580 132
rect 1636 76 1688 132
rect 1202 72 1268 74
rect 1542 70 1688 76
rect 995 69 1065 70
rect 1574 69 1646 70
<< via3 >>
rect 430 296 494 360
rect 862 262 926 266
rect 862 206 866 262
rect 866 206 922 262
rect 922 206 926 262
rect 862 202 926 206
<< metal4 >>
rect 428 360 496 361
rect 428 296 430 360
rect 494 296 496 360
rect 428 294 496 296
rect 432 260 496 294
rect 860 266 928 268
rect 860 260 862 266
rect 432 202 862 260
rect 926 202 928 266
rect 432 200 928 202
rect 862 196 928 200
<< labels >>
flabel nwell s 76 526 110 560 0 FreeSans 100 0 0 0 VPB
port 1 nsew
flabel pwell s 76 -16 110 16 0 FreeSans 100 0 0 0 VNB
port 2 nsew
flabel comment s 0 0 0 0 0 FreeSans 100 0 0 0 scs130hd_mpr2xa_8
rlabel metal3 s 996 70 1142 140 4 R0
port 3 nsew
rlabel metal3 s 1542 70 1688 136 4 R1
port 4 nsew
rlabel metal3 s 686 76 832 142 4 R2
port 5 nsew
rlabel metal3 s 1204 74 1350 140 4 R3
port 6 nsew
rlabel metal3 s 958 470 1024 472 4 B1
port 7 nsew
rlabel metal3 s 166 70 312 136 4 B0
port 8 nsew
rlabel metal3 s 192 294 338 360 4 A0
port 9 nsew
flabel metal1 s 30 -16 64 16 0 FreeSans 100 0 0 0 vgnd
port 10 nsew
flabel metal1 s 30 526 64 560 0 FreeSans 100 0 0 0 vpwr
port 11 nsew
rlabel metal4 s 928 248 928 248 4 A1
port 12 nsew
<< properties >>
string FIXED_BBOX 0 0 1748 544
<< end >>

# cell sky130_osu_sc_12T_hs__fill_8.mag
magic
tech sky130A
magscale 1 2
<< nwell >>
rect -9 485 179 897
<< locali >>
rect 0 827 176 888
rect 0 0 176 61
<< metal1 >>
rect 0 827 176 888
rect 0 0 176 61
<< labels >>
rlabel metal1 111 859 111 859 1 vccd1
rlabel metal1 112 28 112 28 1 vssd1
<< end >>

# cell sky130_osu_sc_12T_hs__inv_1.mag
magic
tech sky130A
magscale 1 2
<< nwell >>
rect -10 484 199 902
<< pmos >>
rect 80 520 110 772
<< nmoslvt >>
rect 80 114 110 224
<< ndiff >>
rect 26 170 80 224
rect 26 130 34 170
rect 68 130 80 170
rect 26 114 80 130
rect 110 170 163 224
rect 110 130 121 170
rect 155 130 163 170
rect 110 114 163 130
<< pdiff >>
rect 26 756 80 772
rect 26 696 34 756
rect 68 696 80 756
rect 26 520 80 696
rect 110 756 163 772
rect 110 560 121 756
rect 155 560 163 756
rect 110 520 163 560
<< ndiffc >>
rect 34 130 68 170
rect 121 130 155 170
<< pdiffc >>
rect 34 696 68 756
rect 121 560 155 756
<< psubdiff >>
rect 26 26 50 60
rect 84 26 108 60
rect 26 20 108 26
<< nsubdiff >>
rect 26 826 50 860
rect 84 826 110 860
<< psubdiffcont >>
rect 50 26 84 60
<< nsubdiffcont >>
rect 50 826 84 860
<< poly >>
rect 80 772 110 798
rect 80 398 110 520
rect 80 382 134 398
rect 80 348 90 382
rect 124 348 134 382
rect 80 332 134 348
rect 80 224 110 332
rect 80 88 110 114
<< polycont >>
rect 90 348 124 382
<< locali >>
rect 0 866 198 888
rect 0 826 50 866
rect 84 826 198 866
rect 34 756 68 826
rect 34 680 68 696
rect 120 756 155 772
rect 120 560 121 756
rect 120 543 155 560
rect 46 382 80 520
rect 120 490 154 543
rect 46 348 90 382
rect 124 348 140 382
rect 34 170 68 186
rect 34 60 68 130
rect 121 170 155 182
rect 121 114 155 130
rect 0 20 50 60
rect 84 20 198 60
rect 0 0 198 20
<< viali >>
rect 50 860 84 866
rect 50 832 84 860
rect 120 456 154 490
rect 121 182 155 216
rect 50 26 84 54
rect 50 20 84 26
<< metal1 >>
rect 0 866 198 888
rect 0 832 50 866
rect 84 832 198 866
rect 0 826 198 832
rect 108 490 166 496
rect 108 456 120 490
rect 154 456 166 490
rect 108 449 166 456
rect 108 448 154 449
rect 120 228 154 448
rect 108 216 167 228
rect 108 182 121 216
rect 155 182 167 216
rect 108 176 167 182
rect 0 54 198 60
rect 0 20 50 54
rect 84 20 198 54
rect 0 0 198 20
<< labels >>
rlabel metal1 150 344 150 344 1 Y
port 1 n
rlabel viali 68 48 68 48 1 vssd1
port 4 n
rlabel viali 68 840 68 840 1 vccd1
port 3 n
rlabel locali 64 370 64 370 1 A
port 2 n
<< end >>

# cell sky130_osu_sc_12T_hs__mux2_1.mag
magic
tech sky130A
magscale 1 2
<< nwell >>
rect -10 484 552 902
<< pmos >>
rect 80 520 110 772
rect 271 520 301 772
rect 357 520 387 772
<< nmoslvt >>
rect 80 114 110 224
rect 271 114 301 224
rect 357 114 387 224
<< ndiff >>
rect 26 170 80 224
rect 26 130 34 170
rect 68 130 80 170
rect 26 114 80 130
rect 110 170 163 224
rect 110 130 121 170
rect 155 130 163 170
rect 110 114 163 130
rect 217 170 271 224
rect 217 130 225 170
rect 259 130 271 170
rect 217 114 271 130
rect 301 170 357 224
rect 301 130 312 170
rect 346 130 357 170
rect 301 114 357 130
rect 387 170 440 224
rect 387 130 398 170
rect 432 130 440 170
rect 387 114 440 130
<< pdiff >>
rect 26 756 80 772
rect 26 696 34 756
rect 68 696 80 756
rect 26 520 80 696
rect 110 756 163 772
rect 110 560 121 756
rect 155 560 163 756
rect 110 520 163 560
rect 217 756 271 772
rect 217 560 225 756
rect 259 560 271 756
rect 217 520 271 560
rect 301 756 357 772
rect 301 560 312 756
rect 346 560 357 756
rect 301 520 357 560
rect 387 756 440 772
rect 387 560 398 756
rect 432 560 440 756
rect 387 520 440 560
<< ndiffc >>
rect 34 130 68 170
rect 121 130 155 170
rect 225 130 259 170
rect 312 130 346 170
rect 398 130 432 170
<< pdiffc >>
rect 34 696 68 756
rect 121 560 155 756
rect 225 560 259 756
rect 312 560 346 756
rect 398 560 432 756
<< psubdiff >>
rect 26 26 50 60
rect 84 26 108 60
rect 26 20 108 26
rect 162 26 186 60
rect 220 26 244 60
rect 162 20 244 26
rect 298 26 322 60
rect 356 26 380 60
rect 298 20 380 26
rect 434 26 458 60
rect 492 26 516 60
rect 434 20 516 26
<< nsubdiff >>
rect 434 860 516 866
rect 434 826 458 860
rect 492 826 516 860
<< psubdiffcont >>
rect 50 26 84 60
rect 186 26 220 60
rect 322 26 356 60
rect 458 26 492 60
<< nsubdiffcont >>
rect 458 826 492 860
<< poly >>
rect 80 788 301 818
rect 80 772 110 788
rect 271 772 301 788
rect 357 772 387 798
rect 80 398 110 520
rect 271 494 301 520
rect 152 464 219 474
rect 152 430 168 464
rect 202 450 219 464
rect 357 450 387 520
rect 202 430 387 450
rect 152 420 387 430
rect 26 382 110 398
rect 26 348 36 382
rect 70 378 110 382
rect 70 348 387 378
rect 26 332 110 348
rect 80 224 110 332
rect 152 296 219 306
rect 152 262 168 296
rect 202 282 219 296
rect 202 262 301 282
rect 152 252 301 262
rect 271 224 301 252
rect 357 224 387 348
rect 80 88 110 114
rect 271 88 301 114
rect 357 88 387 114
<< polycont >>
rect 168 430 202 464
rect 36 348 70 382
rect 168 262 202 296
<< locali >>
rect 0 866 550 888
rect 0 826 458 866
rect 492 826 550 866
rect 34 756 68 826
rect 34 680 68 696
rect 120 756 155 772
rect 36 382 70 552
rect 36 332 70 348
rect 120 560 121 756
rect 120 520 155 560
rect 225 756 259 772
rect 311 756 346 772
rect 311 560 312 756
rect 225 526 271 560
rect 120 480 154 520
rect 237 510 271 526
rect 120 464 202 480
rect 120 430 168 464
rect 120 414 202 430
rect 120 312 154 414
rect 120 296 202 312
rect 120 262 168 296
rect 120 246 202 262
rect 120 212 154 246
rect 34 170 68 186
rect 34 60 68 130
rect 120 170 155 212
rect 237 204 271 476
rect 311 520 346 560
rect 397 756 432 772
rect 397 560 398 756
rect 397 544 432 560
rect 311 364 345 520
rect 397 438 431 544
rect 397 224 431 404
rect 120 130 121 170
rect 120 114 155 130
rect 225 170 271 204
rect 345 182 346 216
rect 311 170 346 182
rect 225 114 259 130
rect 311 130 312 170
rect 311 114 346 130
rect 397 170 432 224
rect 397 130 398 170
rect 397 114 432 130
rect 0 20 50 60
rect 84 20 186 60
rect 220 20 322 60
rect 356 20 458 60
rect 492 20 550 60
rect 0 0 550 20
<< viali >>
rect 458 860 492 866
rect 458 832 492 860
rect 36 552 70 586
rect 237 476 271 510
rect 311 330 345 364
rect 397 404 431 438
rect 311 182 345 216
rect 50 26 84 54
rect 50 20 84 26
rect 186 26 220 54
rect 186 20 220 26
rect 322 26 356 54
rect 322 20 356 26
rect 458 26 492 54
rect 458 20 492 26
<< metal1 >>
rect 0 866 550 888
rect 0 832 458 866
rect 492 832 550 866
rect 0 826 550 832
rect 24 586 82 592
rect 24 552 36 586
rect 70 552 116 586
rect 24 546 82 552
rect 225 510 283 516
rect 190 476 237 510
rect 271 476 283 510
rect 225 470 283 476
rect 385 438 443 444
rect 351 404 397 438
rect 431 404 443 438
rect 385 398 443 404
rect 299 364 357 370
rect 299 330 311 364
rect 345 330 357 364
rect 299 324 357 330
rect 311 222 345 324
rect 299 216 357 222
rect 299 182 311 216
rect 345 182 357 216
rect 299 176 357 182
rect 0 54 550 60
rect 0 20 50 54
rect 84 20 186 54
rect 220 20 322 54
rect 356 20 458 54
rect 492 20 550 54
rect 0 0 550 20
<< labels >>
rlabel viali 54 570 54 570 1 S0
port 1 n
rlabel viali 68 48 68 48 1 vssd1
port 6 n
rlabel viali 476 840 476 840 1 vccd1
port 5 n
rlabel viali 329 348 329 348 1 Y
port 2 n
rlabel viali 415 422 415 422 1 A1
port 4 n
rlabel viali 253 494 253 494 1 A0
port 3 n
<< end >>
